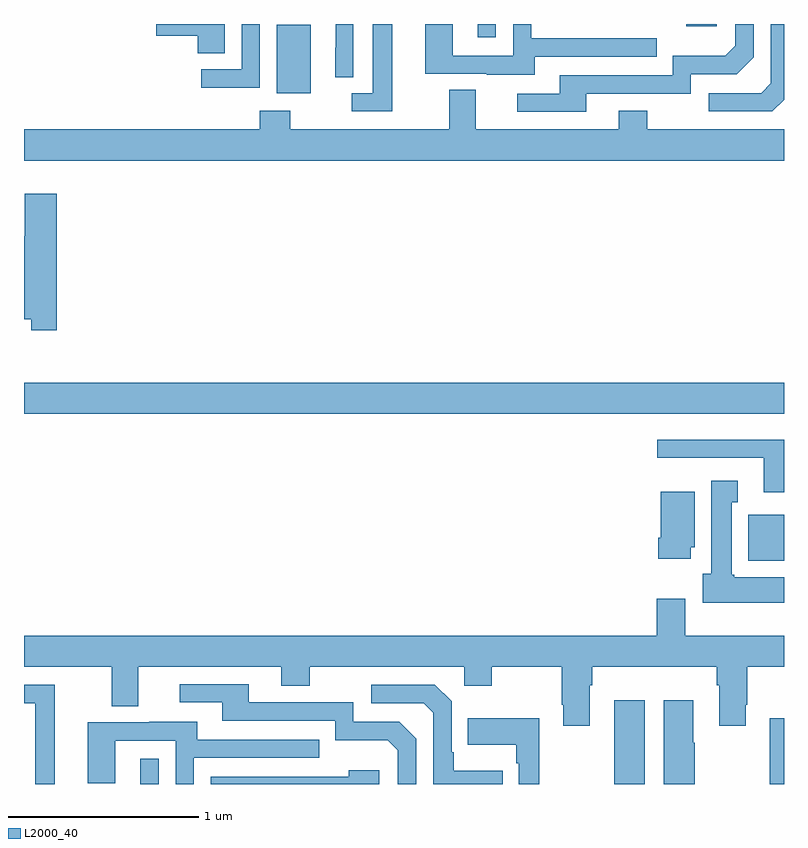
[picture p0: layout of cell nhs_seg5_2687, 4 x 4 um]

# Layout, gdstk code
import gdstk
lib = gdstk.Library(unit=1e-6, precision=1e-09)
def R(c, l, rs):  # rectangles x0, y0, x1, y1
    for r in rs: c.add(gdstk.rectangle(r[:2], r[2:], *l))
def P(c, l, *ps):  # polygons
    for p in ps: c.add(gdstk.Polygon(p, *l))
L2000_40 = (2000, 40)

nhs_seg5_2687 = lib.new_cell('nhs_seg5_2687')
R(nhs_seg5_2687, L2000_40, [(267.611,866.799,267.708,866.932), (270.924,866.799,271,867.145), (270.812,867.974,271,868.216), (267,868.748,271,868.912), (268.331,870.434,268.51,870.795), (269.387,870.729,269.484,870.799), (270.485,870.788,270.646,870.799)])
P(nhs_seg5_2687, L2000_40, [(268.057,870.799),(267.696,870.799),(267.696,870.737),(267.914,870.737),(267.914,870.646),(268.057,870.646)],
  [(269.959,870.432),(270.51,870.432),(270.51,870.534),(270.75,870.534),(270.84,870.624),(270.84,870.799),(270.744,870.799),(270.744,870.684),(270.691,870.631),(270.414,870.631),(270.414,870.528),(269.819,870.528),(269.819,870.432),(269.595,870.432),(269.595,870.336),(269.959,870.336)],
  [(271,870.4),(271,870.799),(270.93,870.799),(270.93,870.486),(270.879,870.435),(270.603,870.435),(270.603,870.339),(270.939,870.339)],
  [(268.734,870.799),(268.638,870.799),(268.64,870.797),(268.64,870.674),(268.638,870.674),(268.638,870.52),(268.734,870.52)],
  [(269.689,870.627),(270.329,870.627),(270.329,870.723),(269.67,870.723),(269.67,870.799),(269.574,870.799),(269.574,870.633),(269.256,870.633),(269.256,870.799),(269.111,870.799),(269.111,870.537),(269.435,870.537),(269.435,870.533),(269.689,870.533)],
  [(268.939,870.799),(268.835,870.799),(268.835,870.435),(268.725,870.435),(268.725,870.339),(268.939,870.339)],
  [(268.242,870.799),(268.146,870.799),(268.146,870.561),(267.933,870.561),(267.933,870.463),(268.242,870.463)],
  [(271,870.244),(270.279,870.244),(270.279,870.343),(270.131,870.343),(270.131,870.244),(269.377,870.244),(269.377,870.452),(269.237,870.452),(269.237,870.244),(268.401,870.244),(268.401,870.343),(268.241,870.343),(268.241,870.244),(267,870.244),(267,870.08),(271,870.08)],
  [(267.173,869.905),(267.005,869.905),(267.005,869.681),(267,869.681),(267,869.246),(267.038,869.246),(267.038,869.187),(267.173,869.187)],
  [(271,868.612),(270.333,868.612),(270.333,868.515),(270.893,868.515),(270.893,868.334),(271,868.334)],
  [(271,867.886),(270.738,867.886),(270.738,867.9),(270.724,867.9),(270.724,868.283),(270.757,868.283),(270.757,868.396),(270.617,868.396),(270.617,867.906),(270.572,867.906),(270.572,867.752),(271,867.752)],
  [(270.508,868.044),(270.529,868.044),(270.529,868.336),(270.35,868.336),(270.35,868.096),(270.338,868.096),(270.338,867.984),(270.508,867.984)],
  [(267,867.416),(267.461,867.416),(267.461,867.208),(267.601,867.208),(267.601,867.416),(268.355,867.416),(268.355,867.317),(268.503,867.317),(268.503,867.416),(269.316,867.416),(269.316,867.317),(269.463,867.317),(269.463,867.416),(269.83,867.416),(269.83,867.217),(269.837,867.217),(269.837,867.105),(269.977,867.105),(269.977,867.32),(269.99,867.32),(269.99,867.416),(270.647,867.416),(270.647,867.32),(270.659,867.32),(270.659,867.105),(270.799,867.105),(270.799,867.217),(270.807,867.217),(270.807,867.416),(271,867.416),(271,867.58),(270.481,867.58),(270.481,867.775),(270.329,867.775),(270.329,867.58),(267,867.58)],
  [(269.064,867.036),(268.974,867.126),(268.734,867.126),(268.734,867.228),(268.183,867.228),(268.183,867.324),(267.819,867.324),(267.819,867.228),(268.043,867.228),(268.043,867.132),(268.638,867.132),(268.638,867.029),(268.915,867.029),(268.968,866.976),(268.968,866.799),(269.064,866.799)],
  [(267.163,867.321),(267,867.321),(267,867.225),(267.059,867.225),(267.059,866.799),(267.163,866.799)],
  [(269.519,866.869),(269.263,866.869),(269.263,866.965),(269.25,866.965),(269.25,867.234),(269.163,867.321),(268.827,867.321),(268.827,867.225),(269.103,867.225),(269.154,867.174),(269.154,866.799),(269.519,866.799)],
  [(270.268,867.241),(270.107,867.241),(270.107,866.886),(270.106,866.886),(270.106,866.799),(270.268,866.799)],
  [(270.531,867.017),(270.523,867.017),(270.523,867.241),(270.368,867.241),(270.368,866.799),(270.531,866.799)],
  [(269.713,867.145),(269.335,867.145),(269.335,867.005),(269.592,867.005),(269.592,866.909),(269.604,866.909),(269.604,866.799),(269.713,866.799)],
  [(267.894,866.937),(268.553,866.937),(268.553,867.033),(267.913,867.033),(267.913,867.127),(267.659,867.127),(267.659,867.123),(267.335,867.123),(267.335,866.803),(267.48,866.803),(267.48,867.027),(267.798,867.027),(267.798,866.799),(267.894,866.799)],
  [(268.87,866.872),(268.709,866.872),(268.709,866.838),(267.984,866.838),(267.984,866.799),(268.87,866.799)])

lib.write_gds('nhs_seg5_2687.gds')
